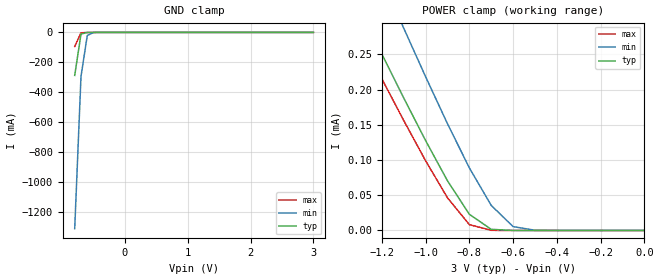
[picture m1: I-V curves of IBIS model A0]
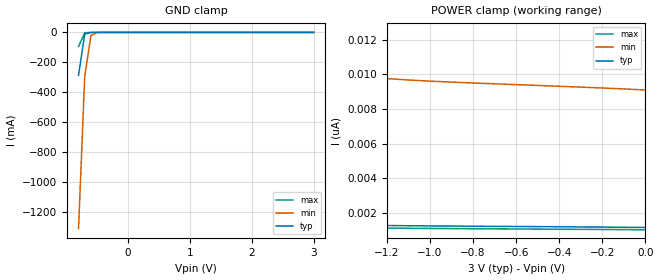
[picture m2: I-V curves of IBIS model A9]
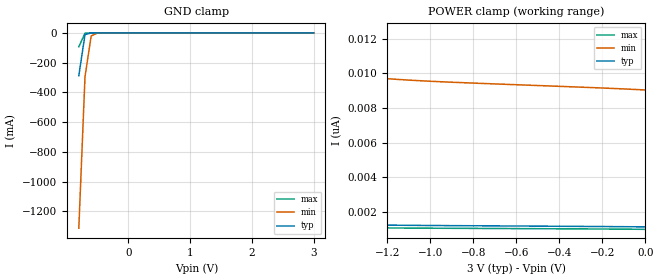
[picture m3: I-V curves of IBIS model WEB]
[IBIS Ver]   3.2
[Comment Char]   |_char
[File name]   s29gl512n_laa064.ibs
[File Rev]   0.5
[Date]   July 18, 2005 10:27:15 AM
[Source]
[Notes]   VIO = 3V (VCC)
[Disclaimer]
[Copyright]
[Component]   LAA064
Si_location Pin
Timing_location Pin
[Manufacturer]   Spansion LLC
[Package]
R_pkg   51.0m   51.0m   51.0m
L_pkg   4.235nH   4.235nH   4.235nH
C_pkg   0.462pF   0.462pF   0.462pF
[Pin] signal_name   model_name
A1	NC			NC
A2	A3			A3
A3	A7			A7
A4	RY/BY#			RDY
A5	WE#			WEB
A6	A9			A9
A7	A13			A13
A8	NC			NC
B1	NC			NC
B2	A4			A4
B3	A17			A17
B4	WP#/ACC			ACC
B5	RST#			RSTB
B6	A8			A8
B7	A12			A12
B8	A22			A22
C1	NC			NC
C2	A2			A2
C3	A6			A6
C4	A18			A18
C5	A21			A21
C6	A10			A10
C7	A14			A14
C8	A23			A23
D1	NC			NC
D2	A1			A1
D3	A5			A5
D4	A20			A20
D5	A19			A19
D6	A11			A11
D7	A15			A15
D8	VIO			POWER
E1	NC			NC
E2	A0			A0
E3	DQ0			DQ0
E4	DQ2			DQ0
E5	DQ5			DQ0
E6	DQ7			DQ0
E7	A16			A16
E8	VSS			GND
F1	VIO			POWER
F2	CE#			CEB
F3	DQ8			DQ0
F4	DQ10			DQ0
F5	DQ12			DQ0
F6	DQ14			DQ0
F7	BYTE#			BYTEB
F8	A24			A24
G1	NC			NC
G2	OE#			OEB
G3	DQ9			DQ0
G4	DQ11			DQ0
G5	VCC			POWER
G6	DQ13			DQ0
G7	DQ15/A-1		DQ15
G8	NC			NC
H1	NC			NC
H2	VSS			GND
H3	DQ1			DQ0
H4	DQ3			DQ0
H5	DQ4			DQ0
H6	DQ6			DQ0
H7	VSS			GND
H8	NC			NC
| Models and submodels in the file (34): A0 (Input), A1 (Input), A2 (Input), A3 (Input), A4 (Input), A5 (Input), A6 (Input), A7 (Input), A8 (Input), A9 (Input), A10 (Input), A11 (Input), A12 (Input), A13 (Input), A14 (Input), A15 (Input), A16 (Input), A17 (Input), A18 (Input), A19 (Input), A20 (Input), A21 (Input), A22 (Input), A23 (Input), A24 (Input), WEB (Input), RSTB (Input), CEB (Input), OEB (Input), ACC (Input), BYTEB (Input), RDY (Open_drain), DQ0 (I/O), DQ15 (I/O)
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[Model]   A0
Model_type Input
Vinh=2.1
Vinl=0.9
C_comp   6.0pF   6.0pF   6.0pF
[Model Spec]
[Temperature Range] 27   100   0
[Voltage Range]   3.0   2.7   3.6
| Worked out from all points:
|   GND clamp passes 1 mA (typ) near -0.60 V on its own axis
|   POWER clamp passes 1 mA (typ) near -2.35 V on its own axis
[GND Clamp]
-800mV    -287.8mA   -1.313A    -94.42mA
-700mV    -11.26mA   -295.1mA   -2.968mA
-600mV    -563.6uA   -20.67mA   -520.2uA
-500mV    -101.7uA   -1.068mA   -134.3uA
-400mV    -23.15uA   -80.17uA   -30.22uA
3V        2.425nA    18.8nA     2.147nA
[POWER Clamp]
-3V       1.432mA    1.681mA    1.341mA
-1.4V     378uA      500.8uA    336.8uA
-1.3V     314uA      428.9uA    275.8uA
-1.2V     250.6uA    357.7uA    215.4uA
-1.1V     188.3uA    287.4uA    156.2uA
-1V       127.7uA    218.4uA    99.03uA
-900mV    70.61uA    151.6uA    46.45uA
-800mV    22.98uA    88.9uA     8.301uA
-700mV    1.639uA    35.63uA    206.4nA
-600mV    40.28nA    5.498uA    5.512nA
-500mV    3.393nA    321.3nA    2.572nA
0V        2.425nA    17.57nA    2.356nA
[Model]   A9
Model_type Input
Vinh=2.1
Vinl=0.9
C_comp   6.0pF   6.0pF   6.0pF
[Model Spec]
[Temperature Range] 27   100   0
[Voltage Range]   3.0   2.7   3.6
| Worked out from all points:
|   GND clamp passes 1 mA (typ) near -0.61 V on its own axis
[GND Clamp]
-800mV    -287.6mA   -1.313A    -93.64mA
-700mV    -11.03mA   -295.1mA   -2.371mA
-600mV    -437.7uA   -20.68mA   -282.4uA
-500mV    -60.36uA   -1.066mA   -70.92uA
-400mV    -13.24uA   -73.35uA   -15.86uA
3V        1.155nA    9.256nA    971.1pA
[POWER Clamp]
-3V       738.1nA    541nA      1.322uA
-2.3V     18.06nA    34.92nA    26.86nA
-2.2V     10.51nA    25.48nA    14.1nA
-2.1V     6.384nA    19.61nA    7.716nA
-2V       4.106nA    15.94nA    4.492nA
-1.9V     2.837nA    13.63nA    2.848nA
-1.8V     2.128nA    12.17nA    2.003nA
-1.7V     1.732nA    11.24nA    1.568nA
-1.6V     1.513nA    10.65nA    1.343nA
-1.5V     1.392nA    10.27nA    1.227nA
-1.3V     1.289nA    9.864nA    1.136nA
0V        1.155nA    9.091nA    1.019nA
[Model]   WEB
Model_type Input
Vinh=2.1
Vinl=0.9
C_comp   8.0pF   8.0pF   8.0pF
[Model Spec]
[Temperature Range] 27   100   0
[Voltage Range]   3.0   2.7   3.6
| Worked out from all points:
|   GND clamp passes 1 mA (typ) near -0.61 V on its own axis
[GND Clamp]
-800mV    -287.6mA   -1.313A    -93.58mA
-700mV    -10.98mA   -295mA     -2.345mA
-600mV    -426.9uA   -20.61mA   -280.5uA
-500mV    -59.92uA   -1.04mA    -70.89uA
-400mV    -13.23uA   -69.94uA   -15.85uA
3V        1.128nA    9.209nA    944.7pA
[POWER Clamp]
-3V       738nA      540.9nA    1.322uA
-2.3V     18.02nA    34.86nA    26.76nA
-2.2V     10.47nA    25.42nA    14.01nA
-2.1V     6.345nA    19.55nA    7.631nA
-2V       4.067nA    15.88nA    4.413nA
-1.9V     2.799nA    13.57nA    2.774nA
-1.8V     2.09nA     12.11nA    1.934nA
-1.7V     1.695nA    11.19nA    1.503nA
-1.6V     1.475nA    10.6nA     1.282nA
-1.5V     1.355nA    10.22nA    1.169nA
-1.3V     1.253nA    9.812nA    1.083nA
0V        1.128nA    9.047nA    986.6pA
